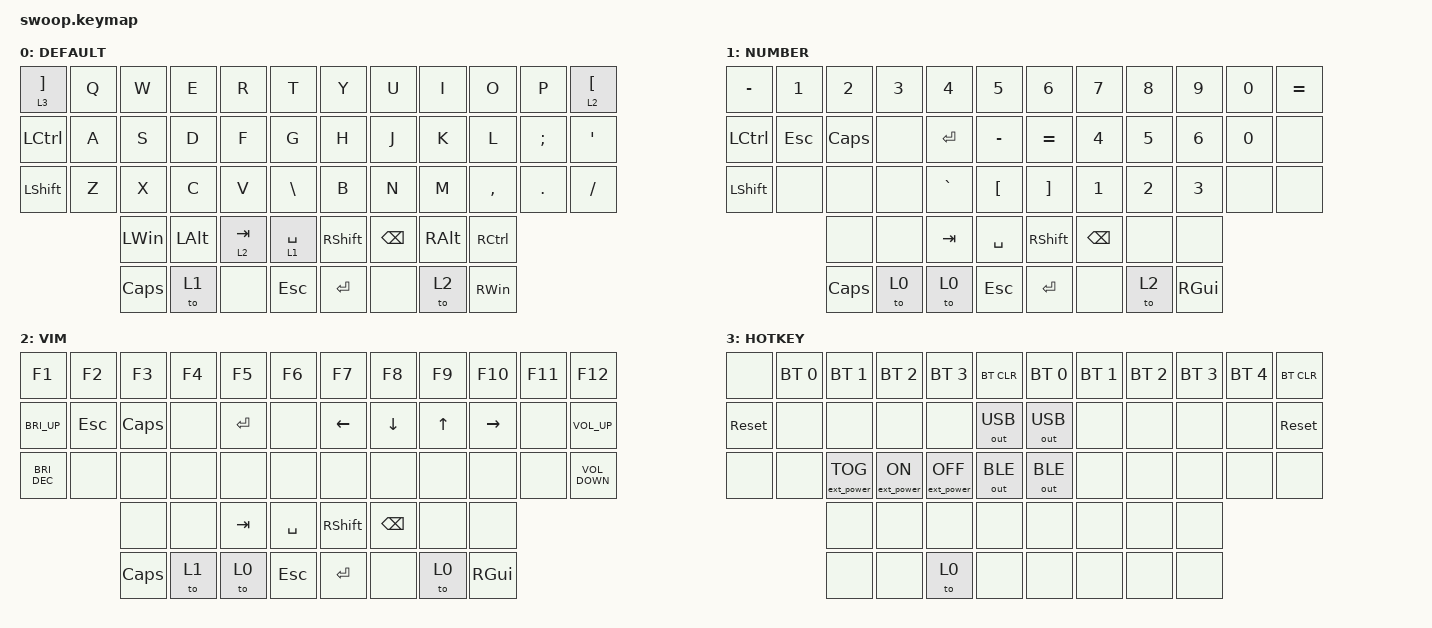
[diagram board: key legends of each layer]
#include <behaviors.dtsi>
#include <dt-bindings/zmk/bt.h>
#include <dt-bindings/zmk/ext_power.h>
#include <dt-bindings/zmk/keys.h>
#include <dt-bindings/zmk/outputs.h>

#define DEFAULT 0
#define NUMBER  1
#define SYMBOL  2
#define HOTKEY  3

#define AS(keycode) &as LS(keycode) keycode

/ {
    behaviors {
        td0: tap_dance_0 {
            compatible = "zmk,behavior-tap-dance";
            label = "TAP_DANCE_0";
            #binding-cells = <0>;
            tapping-term-ms = <200>;
            bindings = <&kp ESC>, <&kp TAB>;
        };
    };

    behaviors {
        as: auto_shift {
            compatible = "zmk,behavior-hold-tap";
            label = "AUTO_SHIFT";
            #binding-cells = <2>;
            tapping-term-ms = <200>;
            quick-tap-ms = <0>;
            flavor = "tap-preferred";
            bindings = <&kp>, <&kp>;
        };
        modcp: mod_copy {
            compatible = "zmk,behavior-mod-morph";
            label = "MOD_COPY";
            #binding-cells = <0>;
            bindings = <&as LS(C) C>, <&kp C>;

            mods = <(LGUI | RGUI)>;
        };
    };

    macros {
        macro_phone: macro_phone {
            // 1351

            label = "MACRO_PHONE";
            compatible = "zmk,behavior-macro";
            #binding-cells = <0>;
            bindings = <&kp N1 &kp N3 &kp N5 &kp N1>;
        };
        macro_email_q: macro_email_q {
            // 2894512440@qq.com

            label = "MACRO_EMAIL_QQ";
            compatible = "zmk,behavior-macro";
            #binding-cells = <0>;
            bindings = <&kp N2 &kp N8 &kp N9 &kp N4 &kp N5 &kp N1 &kp N2 &kp N4 &kp N4 &kp N0 &kp AT &kp Q &kp Q &kp DOT &kp C &kp O &kp M>;
        };
        macro_email_g: macro_email_g {
            // 135115

            compatible = "zmk,behavior-macro";
            label = "MACRO_EMAIL_GMAIL";
            #binding-cells = <0>;
            bindings = <&kp N1 &kp N3 &kp N5 &kp N1 &kp N1 &kp N5>;
        };
    };

    combos {
        compatible = "zmk,combos";

        combo_00 {
            timeout-ms = <50>;
            key-positions = <>;
            bindings = <&kp  LSHFT>;
        };

        combo_11 {
            timeout-ms = <40>;
            key-positions = <>;
            bindings = <&mo 2>;
        };

        combo_22 {
            timeout-ms = <50>;
            key-positions = <>;
            bindings = <&kp EXCL>;
        };

        combo_33 {
            timeout-ms = <50>;
            key-positions = <>;
            bindings = <&kp AT>;
        };

        combo_44 {
            timeout-ms = <50>;
            key-positions = <>;
            bindings = <&kp HASH>;
        };
    };

    keymap {
        compatible = "zmk,keymap";

        default_layer {
            label = "DEFAULT";
            bindings = <
&lt 3 RIGHT_BRACKET  &kp Q  &kp W         &kp E         &kp R      &kp T          &kp Y            &kp U          &kp I          &kp O              &kp P       &lt 2 LEFT_BRACKET
&kp LEFT_CONTROL     &kp A  &kp S         &kp D         &kp F      &kp G          &kp H            &kp J          &kp K          &kp L              &kp SEMI    &kp SQT
&kp LEFT_SHIFT       &kp Z  &kp X         &kp C         &kp V      &kp BACKSLASH  &kp B            &kp N          &kp M          &kp COMMA          &kp PERIOD  &kp SLASH
                            &kp LEFT_WIN  &kp LEFT_ALT  &lt 2 TAB  &lt 1 SPACE    &kp RIGHT_SHIFT  &kp BACKSPACE  &kp RIGHT_ALT  &kp RIGHT_CONTROL
                            &kp CAPSLOCK  &to 1         &none      &kp ESCAPE     &kp ENTER        &none          &to 2          &kp RIGHT_WIN
            >;
        };

        number_layer {
            label = "NUMBER";
            bindings = <
&kp MINUS         &kp NUMBER_1  &kp NUMBER_2  &kp NUMBER_3  &kp NUMBER_4  &kp NUMBER_5      &kp NUMBER_6       &kp N7         &kp NUMBER_8  &kp NUMBER_9   &kp NUMBER_0  &kp EQUAL
&kp LEFT_CONTROL  &kp ESCAPE    &kp CAPSLOCK  &none         &kp ENTER     &kp MINUS         &kp EQUAL          &kp NUMBER_4   &kp NUMBER_5  &kp NUMBER_6   &kp NUMBER_0  &none
&kp LEFT_SHIFT    &none         &none         &none         &kp GRAVE     &kp LEFT_BRACKET  &kp RIGHT_BRACKET  &kp NUMBER_1   &kp NUMBER_2  &kp NUMBER_3   &none         &none
                                &none         &none         &kp TAB       &kp SPACE         &kp RIGHT_SHIFT    &kp BACKSPACE  &none         &none
                                &kp CAPSLOCK  &to 0         &to 0         &kp ESCAPE        &kp ENTER          &none          &to 2         &kp RIGHT_GUI
            >;
        };

        vim_layer {
            label = "VIM";
            bindings = <
&kp F1                &kp F2      &kp F3        &kp F4  &kp F5     &kp F6      &kp F7           &kp F8         &kp F9  &kp F10        &kp F11  &kp F12
&kp C_BRI_UP          &kp ESCAPE  &kp CAPSLOCK  &none   &kp ENTER  &none       &kp LEFT         &kp DOWN       &kp UP  &kp RIGHT      &none    &kp C_VOLUME_UP
&kp C_BRIGHTNESS_DEC  &none       &none         &none   &none      &none       &none            &none          &none   &none          &none    &kp C_VOLUME_DOWN
                                  &none         &none   &kp TAB    &kp SPACE   &kp RIGHT_SHIFT  &kp BACKSPACE  &none   &none
                                  &kp CAPSLOCK  &to 1   &to 0      &kp ESCAPE  &kp ENTER        &none          &to 0   &kp RIGHT_GUI
            >;
        };

        hotkey_layer {
            label = "HOTKEY";
            bindings = <
&none       &bt BT_SEL 0  &bt BT_SEL 1       &bt BT_SEL 2      &bt BT_SEL 3       &bt BT_CLR    &bt BT_SEL 0  &bt BT_SEL 1  &bt BT_SEL 2  &bt BT_SEL 3  &bt BT_SEL 4  &bt BT_CLR
&sys_reset  &none         &none              &none             &none              &out OUT_USB  &out OUT_USB  &none         &none         &none         &none         &sys_reset
&none       &none         &ext_power EP_TOG  &ext_power EP_ON  &ext_power EP_OFF  &out OUT_BLE  &out OUT_BLE  &none         &none         &none         &none         &none
                          &none              &none             &none              &none         &none         &none         &none         &none
                          &none              &none             &to 0              &none         &none         &none         &none         &none
            >;
        };
    };
};
